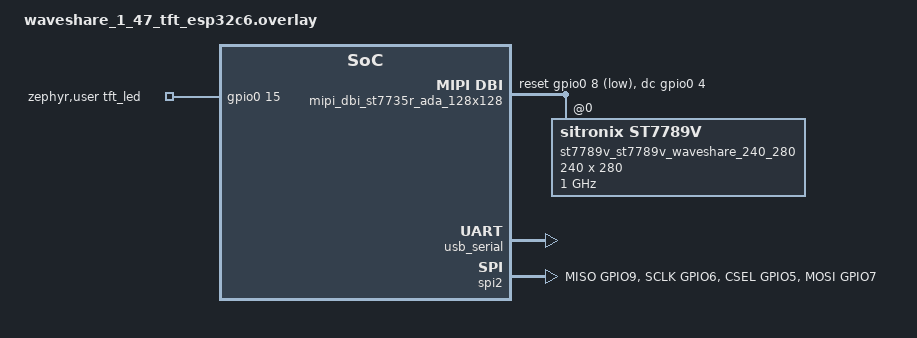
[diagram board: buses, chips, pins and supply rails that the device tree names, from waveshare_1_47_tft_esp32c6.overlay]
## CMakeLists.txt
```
# cmake boilerplate
cmake_minimum_required(VERSION 3.5.0)

set(PROJECT_ROOT_DIR ${CMAKE_CURRENT_LIST_DIR}/../../)

# add modules
list(APPEND EXTRA_ZEPHYR_MODULES
    ${PROJECT_ROOT_DIR}/modules/AnimatedGIF
)

# import overlays for CPUs
set(DTC_OVERLAY_FILE ${PROJECT_ROOT_DIR}/overlays/waveshare_1_47_tft_esp32c6.overlay)

# add extra configuration
set(EXTRA_CONF_FILE ${CMAKE_CURRENT_LIST_DIR}/prj.conf)

# add zephyr package
find_package(Zephyr REQUIRED HINTS $ENV{ZEPHYR_BASE})

# declare project
project(GifyESP32Zephyr)

# add sources
file(GLOB_RECURSE srcs ${CMAKE_CURRENT_LIST_DIR}/src/*.c*)

target_sources(app
    PRIVATE ${srcs}
)

target_include_directories(app
    PUBLIC ${CMAKE_CURRENT_LIST_DIR}/include/
)
```

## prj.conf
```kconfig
CONFIG_ULP_COPROC_ENABLED=y

CONFIG_ESPTOOLPY_FLASHMODE_QIO=y
CONFIG_ESPTOOLPY_FLASHFREQ_80M=y
CONFIG_ESPTOOLPY_FLASHSIZE_8MB=y

# bootloader
CONFIG_SERIAL=y
CONFIG_UART_CONSOLE=y

# compiler settings
CONFIG_ASSERT=y
CONFIG_CPP=y
CONFIG_STD_CPP2B=y
CONFIG_REQUIRES_FULL_LIBCPP=y
CONFIG_CPP_EXCEPTIONS=y
CONFIG_CPP_RTTI=y

CONFIG_NEWLIB_LIBC=y
CONFIG_COMMON_LIBC_ASCTIME_R=y
CONFIG_COMMON_LIBC_CTIME_R=y
CONFIG_COMMON_LIBC_MALLOC=y
CONFIG_NEWLIB_LIBC_FLOAT_PRINTF=y
CONFIG_NEWLIB_LIBC_HEAP_LISTENER=y

CONFIG_STD_C23=y
CONFIG_GNU_C_EXTENSIONS=y
CONFIG_DEBUG_OPTIMIZATIONS=y
CONFIG_COMPILER_WARNINGS_AS_ERRORS=y
CONFIG_COMPILER_SAVE_TEMPS=y
CONFIG_FORTIFY_SOURCE_RUN_TIME=y
# CONFIG_MISRA_SANE=y
CONFIG_HEAP_MEM_POOL_SIZE=20000

CONFIG_SYS_HASH_FUNC32=y
CONFIG_SYS_HASH_MAP=y
CONFIG_SHARED_MULTI_HEAP=y

#debug settings
CONFIG_PRINTK=y

CONFIG_LOG=y
CONFIG_LOG_DEFAULT_LEVEL=2
CONFIG_SHELL_LOG_BACKEND=y
CONFIG_LOG_BACKEND_UART=y

# shell settings
CONFIG_SHELL=y
CONFIG_SHELL_PROMPT_UART="ST7789:~$ "

CONFIG_FILE_SYSTEM=y
CONFIG_FILE_SYSTEM_SHELL=y

CONFIG_GPIO=y
CONFIG_GPIO_SHELL=y

CONFIG_I2C=y
CONFIG_I2C_SHELL=y

CONFIG_SPI=y
CONFIG_SPI_SHELL=y

CONFIG_DISPLAY=y

CONFIG_SHELL=y
```

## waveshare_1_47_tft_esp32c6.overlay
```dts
/*
* Copyright (c) 2020, Kim Bøndergaard, <kim@fam-boendergaard.dk>
*
* SPDX-License-Identifier: Apache-2.0
*/

#include <zephyr/dt-bindings/mipi_dbi/mipi_dbi.h>

/ {
	chosen {
		zephyr,display = &st7735r_st7735r_ada_128x128;
		// zephyr,display = &st7789v_st7789v_waveshare_172_320;
		zephyr,display = &st7789v_st7789v_waveshare_240_280;
		
		// zephyr,console = &usb_serial;
		// zephyr,shell-uart = &usb_serial;
	};
	
	zephyr,user {
		tft_led-gpios = <&gpio0 15 GPIO_ACTIVE_HIGH>;
	};
	
	mipi_dbi_st7735r_ada_128x128 {
		compatible = "zephyr,mipi-dbi-spi";
		spi-dev = <&spi2>;
		dc-gpios = <&gpio0 4 GPIO_ACTIVE_HIGH>;	    /* D41 */
		reset-gpios = <&gpio0 8 GPIO_ACTIVE_LOW>;	/* D39 */
		#address-cells = <1>;
		#size-cells = <0>;
		
		st7789v_st7789v_waveshare_240_280: st7789v@0 {
			compatible = "sitronix,st7789v";
			mipi-max-frequency = <1000000000>;
			reg = <0>;
			width = <240>;
			height = <280>;
			x-offset = <40>;
			y-offset = <0>;
			vcom = <0x19>;
			gctrl = <0x35>;
			vrhs = <0x12>;
			vdvs = <0x20>;
			mdac = <0x00>;
			gamma = <0x01>;
			colmod = <0x05>;
			lcm = <0x2c>;
			porch-param = [0c 0c 00 33 33];
			cmd2en-param = [5a 69 02 01];
			pwctrl1-param = [a4 a1];
			pvgam-param = [D0 04 0D 11 13 2B 3F 54 4C 18 0D 0B 1F 23];
			nvgam-param = [D0 04 0C 11 13 2C 3F 44 51 2F 1F 1F 20 23];
			ram-param = [00 F0];
			rgb-param = [CD 08 14];
			mipi-mode = "MIPI_DBI_MODE_SPI_4WIRE";
		};
		
		// st7789v_st7789v_waveshare_172_320: st7789v@0 {
		// 	compatible = "sitronix,st7789v";
		// 	mipi-max-frequency = <1000000000>;
		// 	reg = <0>;
		// 	width = <172>;
		// 	height = <320>;
		// 	x-offset = <34>;
		// 	y-offset = <0>;
		// 	vcom = <0x19>;
		// 	gctrl = <0x35>;
		// 	vrhs = <0x12>;
		// 	vdvs = <0x20>;
		// 	mdac = <0x00>;
		// 	gamma = <0x01>;
		// 	colmod = <0x05>;
		// 	lcm = <0x2c>;
		// 	porch-param = [0c 0c 00 33 33];
		// 	cmd2en-param = [5a 69 02 01];
		// 	pwctrl1-param = [a4 a1];
		// 	pvgam-param = [D0 04 0D 11 13 2B 3F 54 4C 18 0D 0B 1F 23];
		// 	nvgam-param = [D0 04 0C 11 13 2C 3F 44 51 2F 1F 1F 20 23];
		// 	ram-param = [00 F0];
		// 	rgb-param = [CD 08 14];
		// 	mipi-mode = "MIPI_DBI_MODE_SPI_4WIRE";
		// };
		
		// st7735r_st7735r_ada_128x128: st7735r@0 {
		// 	compatible = "sitronix,st7735r";
		// 	mipi-max-frequency = <20000000>;
		// 	mipi-mode = "MIPI_DBI_MODE_SPI_4WIRE";
		// 	reg = <0>;
		// 	width = <128>;
		// 	height = <128>;
		// 	x-offset = <0>;
		// 	y-offset = <0>;
		// 	madctl = <0x60>;
		// 	colmod = <0x55>;
		// 	vmctr1 = <0x0e>;
		// 	pwctr1 = [a2 02 84];
		// 	pwctr2 = [c5];
		// 	pwctr3 = [0a 00];
		// 	pwctr4 = [8a 2a];
		// 	pwctr5 = [8a ee];
		// 	frmctr1 = [01 2c 2d];
		// 	frmctr2 = [01 2c 2d];
		// 	frmctr3 = [01 2c 2d 01 2c 2d];
		// 	gamctrp1 = [02 1c 07 12 37 32 29 2d 29 25 2b 39 00 01 03 10];
		// 	gamctrn1 = [03 1d 07 06 2e 2c 29 2d 2e 2e 37 3f 00 00 02 10];
		// };
	};
};

&usb_serial {
	status = "okay";
};

/* 16MB flash */
&flash0 {
	reg = <0x0 DT_SIZE_M(16)>;
};

/* 8MB psram */
&psram0 {
	size = <DT_SIZE_M(8)>;
};

&pinctrl {
	spim2tft_default: spim2tft_default {
		group1 {
			pinmux = <SPIM2_MISO_GPIO9>,
			<SPIM2_SCLK_GPIO6>,
			<SPIM2_CSEL_GPIO5>;
		};
		group2 {
			pinmux = <SPIM2_MOSI_GPIO7>;
			output-low;
		};
	};
};

&spi2 {
	pinctrl-0 = <&spim2tft_default>;
};
```

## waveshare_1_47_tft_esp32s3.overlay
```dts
/*
* Copyright (c) 2020, Kim Bøndergaard, <kim@fam-boendergaard.dk>
*
* SPDX-License-Identifier: Apache-2.0
*/

#include <zephyr/dt-bindings/mipi_dbi/mipi_dbi.h>

&usb_serial {
	status = "okay";
};

/* 16MB flash */
&flash0 {
	reg = <0x0 DT_SIZE_M(16)>;
};

/* 8MB psram */
&psram0 {
	size = <DT_SIZE_M(8)>;
};

&pinctrl {
	spim2tft_default: spim2tft_default {
		group1 {
			pinmux = <SPIM2_MISO_GPIO46>,
			<SPIM2_SCLK_GPIO40>,
			<SPIM2_CSEL_GPIO42>;
		};
		group2 {
			pinmux = <SPIM2_MOSI_GPIO45>;
			// output-low;
		};
	};
};

&spi2 {
	pinctrl-0 = <&spim2tft_default>;
};

/ {
	chosen {
		zephyr,display = &st7789v_st7789v_waveshare_172_320;
		zephyr,console = &usb_serial;
		zephyr,shell-uart = &usb_serial;
	};
	
	zephyr,user {
		tft_led-gpios = <&gpio1 16 GPIO_ACTIVE_HIGH>;
	};
	
	mipi_dbi_st7735r_ada_128x128 {
		compatible = "zephyr,mipi-dbi-spi";
		spi-dev = <&spi2>;
		dc-gpios = <&gpio1 9 GPIO_ACTIVE_HIGH>;	    /* D41 */
		reset-gpios = <&gpio1 7 GPIO_ACTIVE_LOW>;	/* D39 */
		#address-cells = <1>;
		#size-cells = <0>;
		
		
		st7789v_st7789v_waveshare_172_320: st7789v@0 {
			compatible = "sitronix,st7789v";
			mipi-max-frequency = <1000000000>;
			reg = <0>;
			width = <172>;
			height = <320>;
			x-offset = <34>;
			y-offset = <0>;
			vcom = <0x19>;
			gctrl = <0x35>;
			vrhs = <0x12>;
			vdvs = <0x20>;
			mdac = <0x00>;
			gamma = <0x01>;// 01h G2.2 ; 02h G1.8 ; 03h G2.5; 04h G1.0
			colmod = <0x05>;
			lcm = <0x2c>;
			porch-param = [0c 0c 00 33 33];
			cmd2en-param = [5a 69 02 01];
			pwctrl1-param = [a4 a1];
			pvgam-param = [D0 04 0D 11 13 2B 3F 54 4C 18 0D 0B 1F 23];
			nvgam-param = [D0 04 0C 11 13 2C 3F 44 51 2F 1F 1F 20 23];
			ram-param = [00 F0];
			rgb-param = [CD 08 14];
			mipi-mode = "MIPI_DBI_MODE_SPI_4WIRE";
		};
	};
};
```

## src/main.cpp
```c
#include <stdio.h>
#include <stdlib.h>
#include <ctime>

#include <zephyr/kernel.h>
#include <zephyr/device.h>
#include <zephyr/display/cfb.h>
#include <zephyr/drivers/gpio.h>

#include "pin_defines.hpp"
#include "gif_player.hpp"

#include <zephyr/logging/log.h>
LOG_MODULE_REGISTER(main);

int main()
{
    LOG_INF("Gify ST7789 ESP32 Demo!");
    static gify::gif_player gif_player;
    k_thread_suspend(k_current_get());
    return 0;
}
```

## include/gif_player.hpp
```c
/**
 * @file gif_player.hpp
 * @brief Declaration of the gif_player class for handling GIF playback
 * functionality.
 *
 * This file contains the definition of the gif_player class, which provides
 * an interface for managing and playing GIF animations.
 */

namespace gify {

#define FRAME_RATE 24u
// #define FRAME_RATE 30u
// #define FRAME_RATE 60u

#define TFT_W      172
#define TFT_H      320
#define BPP_COOKED 2u

/**
 * @class gif_player
 * @brief A class for managing and playing GIF animations.
 *
 * The gif_player class provides functionality to load, control, and display
 * GIF animations. It serves as a core component for handling GIF playback
 * within the gify namespace.
 */
class gif_player
{
  private:
    // Private members for internal use.

    static void _run(void* p0, void* p1, void* p2);

  public:
    /**
     * @brief Constructs a new gif_player object.
     *
     * Initializes the gif_player instance and prepares it for use.
     */
    gif_player();

    /**
     * @brief Destroys the gif_player object.
     *
     * Cleans up resources used by the gif_player instance.
     */
    ~gif_player();
};

} // namespace gify
```

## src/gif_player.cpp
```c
#include <stdio.h>
#include <stdint.h>
#include <span>
#include <memory>

#include <zephyr/kernel.h>
#include <zephyr/device.h>
#include <zephyr/display/cfb.h>
#include <zephyr/drivers/gpio.h>

#include <AnimatedGIF.h>

#include <gifs/this_is_fine.h>
// #include <gifs/sunset_gif.h>

#include <gif_player.hpp>

namespace gify {

#define GIF_PLAYER_STACK_SIZE 2048u

#define ZEPHYR_USER_NODE DT_PATH(zephyr_user)
#define TFT_LED_GPIO     GPIO_DT_SPEC_GET(ZEPHYR_USER_NODE, tft_led_gpios)

AnimatedGIF _gif;
uint8_t     ucFrameBuffer[(TFT_W * TFT_H) +
                      ((TFT_W * TFT_H) * BPP_COOKED)] = {}; // holds current canvas as 8-bpp and
                                                                // 16-bit output after that

K_THREAD_STACK_DEFINE(gif_player_stack, GIF_PLAYER_STACK_SIZE);
struct k_thread gif_player_thread_data;

void clear_screen(const struct device* scr)
{
    uint16_t*                        _buf = (uint16_t*)calloc(TFT_W * TFT_H * sizeof(uint16_t), 0u);
    struct display_buffer_descriptor _desc = { .buf_size         = TFT_W * TFT_H * 2u,
                                               .width            = TFT_W,
                                               .height           = TFT_H,
                                               .pitch            = TFT_W,
                                               .frame_incomplete = false };

    int rc = display_write(scr, 0u, 0u, &_desc, (void*)&_buf[0u]);
    if (rc != 0) {
        printk("Failed to write to display: %d\n", rc);
    }

    free(_buf);
    _buf = nullptr;
}

void gif_player::_run(void* p0, void* p1, void* p2)
{
    // Cast the argument to the correct type
    gif_player* player = static_cast<gif_player*>(p0);
    if (player == nullptr) {
        printf("Error: pointer to base class is NULL\n");
        return;
    }

    /* turn on TFT LED */
    const struct gpio_dt_spec tft_led = TFT_LED_GPIO;
    gpio_pin_configure_dt(&tft_led, GPIO_OUTPUT_ACTIVE | GPIO_ACTIVE_HIGH);

    const struct device* dev = DEVICE_DT_GET(DT_CHOSEN(zephyr_display));
    if (!device_is_ready(dev)) {
        printk("Device %s not ready\n", dev->name);
        return;
    }

    if (display_set_pixel_format(dev, PIXEL_FORMAT_RGB_565) != 0) {
        printk("Failed to set required pixel format\n");
        return;
    }

    struct display_capabilities caps;
    display_get_capabilities(dev, &caps);

    int rc = display_blanking_off(dev);
    if (rc != 0) {
        printk("Failed to turn on display blanking: %d\n", rc);
    }

    // clear_screen(dev);

    while (1) {
        _gif.begin(GIF_PALETTE_RGB565_BE); // Choose the "OLED" version of 1-bpp
                                           // output (vertical bytes, LSB on top)

        // For 1-bit output, we can pass NULL for the GIFDraw method pointer; it
        // won't be needed
        if (_gif.open((uint8_t*)gif, sizeof(gif), NULL)) {
            // For 1-bit output, the whole frame (8-bit + 16-bit) is written
            // into the buffer we set below
            _gif.setFrameBuf(ucFrameBuffer);
            // We want the library to generate ready-made (COOKED) pixels
            _gif.setDrawType(GIF_DRAW_COOKED);
            printf("Successfully opened GIF; Canvas size = %d x %d\n", _gif.getCanvasWidth(),
                   _gif.getCanvasHeight());
            GIFINFO info = {};
            _gif.getInfo(&info);
            printf("Number of frames = %d\n"
                   "Duration [ms] = %d\n"
                   "Max Delay [ms] = %d]\n"
                   "Min Delay [ms] = %d]\n",
                   info.iFrameCount, info.iDuration, info.iMaxDelay, info.iMinDelay);

#ifndef FRAME_RATE
            uint64_t avg_frame_delay_us = ((info.iMaxDelay + info.iMinDelay) / 2u) * 1000u;
#else
            uint64_t avg_frame_delay_us = 1000000u / FRAME_RATE;
#endif

            int count = 0;
            while (_gif.playFrame(false, NULL)) { // live dangerously; run unthrottled :)
                uint64_t  start_time_ticks = k_uptime_get();
                uint16_t* current_frame    = (uint16_t*)(ucFrameBuffer + (TFT_W * TFT_H));

                struct display_buffer_descriptor _desc = { .buf_size =
                                                               ((TFT_W * TFT_H) * BPP_COOKED),
                                                           .width            = TFT_W,
                                                           .height           = TFT_H,
                                                           .pitch            = TFT_W,
                                                           .frame_incomplete = false };

                rc = display_write(dev, 0u, 0u, &_desc, (void*)current_frame);
                if (rc != 0) {
                    printk("Failed to write to display: %d\n", rc);
                }

                // make things run at proper frame rate
                uint64_t time_spent_us = k_ticks_to_us_ceil64(k_uptime_get() - start_time_ticks);
                if (time_spent_us > avg_frame_delay_us) {
                    printf("Frame %d took too long to draw: %lld us\n", count, time_spent_us);
                    continue;
                }
                k_sleep(K_USEC(avg_frame_delay_us - time_spent_us));
            }
            _gif.close();
        }
    }
}

gif_player::gif_player()
{
    // Constructor implementation
    printf("gif_player constructor called\n");

    // Create the task for the gif_player
    k_thread_create(&gif_player_thread_data, gif_player_stack,
                    K_THREAD_STACK_SIZEOF(gif_player_stack), _run, this, NULL, NULL,
                    K_PRIO_PREEMPT(0), 0, K_NO_WAIT);
    k_thread_name_set(&gif_player_thread_data, "GIF_PLAYER");
    k_thread_start(&gif_player_thread_data);
}

gif_player::~gif_player()
{
    // Destructor implementation
    printf("gif_player destructor called\n");
}

} // namespace gify
```
